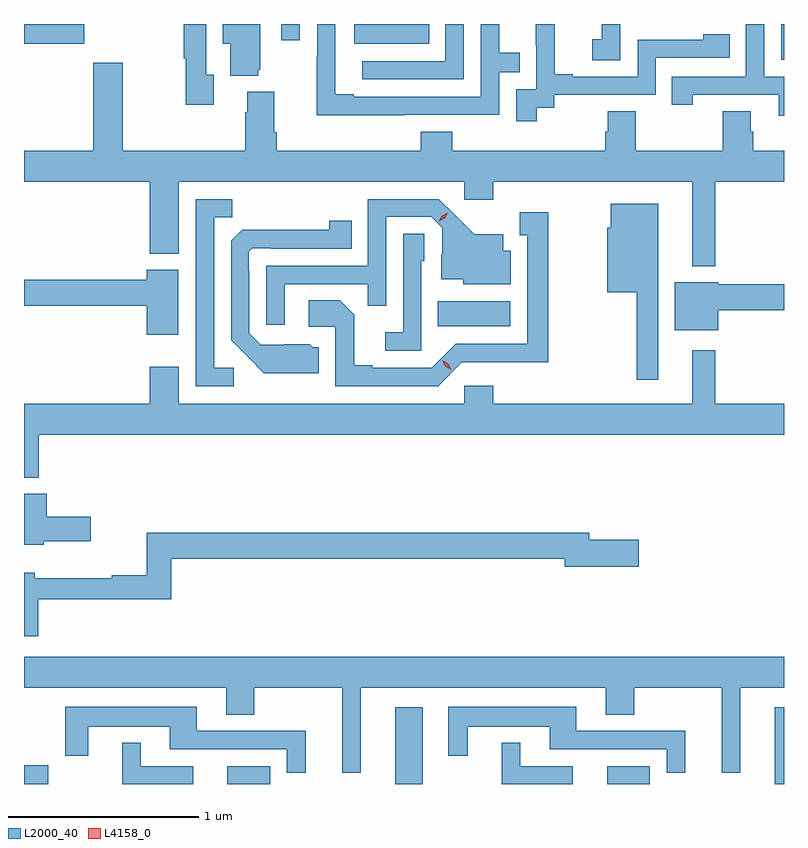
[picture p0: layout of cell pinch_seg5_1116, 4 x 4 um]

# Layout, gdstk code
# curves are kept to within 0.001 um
import gdstk
lib = gdstk.Library(unit=1e-6, precision=1e-09)
def R(c, l, rs):  # rectangles x0, y0, x1, y1
    for r in rs: c.add(gdstk.rectangle(r[:2], r[2:], *l))
def P(c, l, *ps):  # polygons
    for p in ps: c.add(gdstk.Polygon(p, *l))
L2000_40 = (2000, 40)
L4158_0 = (4158, 0)

pinch_seg5_1116 = lib.new_cell('pinch_seg5_1116')
R(pinch_seg5_1116, L2000_40, [(772.109,844.266,772.236,844.366), (773.18,844.266,773.404,844.36), (774.062,844.266,774.208,844.669), (775.178,844.266,775.402,844.36), (776.06,844.266,776.109,844.669), (774.286,846.674,774.667,846.808), (776.094,848.079,776.109,848.266), (772.109,848.162,772.426,848.266), (773.846,848.162,774.242,848.266), (773.463,848.181,773.559,848.266)])
P(pinch_seg5_1116, L2000_40, [(773.342,848.025),(773.353,848.025),(773.353,848.266),(773.156,848.266),(773.156,848.162),(773.195,848.162),(773.195,847.994),(773.342,847.994)],
  [(776.109,847.989),(776.004,847.989),(776.004,848.266),(775.908,848.266),(775.908,847.989),(775.519,847.989),(775.519,847.842),(775.63,847.842),(775.63,847.893),(776.081,847.893),(776.081,847.782),(776.109,847.782)],
  [(775.248,848.266),(775.15,848.266),(775.15,848.185),(775.101,848.185),(775.101,848.076),(775.248,848.076)],
  [(774.808,847.825),(774.9,847.825),(774.9,847.893),(775.434,847.893),(775.434,848.088),(775.823,848.088),(775.823,848.211),(775.683,848.211),(775.683,848.184),(775.338,848.184),(775.338,847.989),(774.997,847.989),(774.997,848.002),(774.902,848.002),(774.902,848.266),(774.803,848.266),(774.803,848.153),(774.804,848.153),(774.804,847.923),(774.699,847.923),(774.699,847.755),(774.808,847.755)],
  [(774.113,847.788),(774.609,847.788),(774.609,848.013),(774.719,848.013),(774.719,848.114),(774.609,848.114),(774.609,848.266),(774.513,848.266),(774.513,847.884),(773.845,847.884),(773.845,847.897),(773.748,847.897),(773.748,848.266),(773.652,848.266),(773.652,848.093),(773.65,848.093),(773.65,847.787),(774.113,847.787)],
  [(773.107,847.998),(773.067,847.998),(773.067,848.266),(772.951,848.266),(772.951,848.086),(772.959,848.086),(772.959,847.842),(773.107,847.842)],
  [(774.423,848.266),(774.327,848.266),(774.327,848.07),(773.889,848.07),(773.889,847.974),(774.423,847.974)],
  [(775.747,847.436),(776.109,847.436),(776.109,847.6),(775.946,847.6),(775.946,847.698),(775.933,847.698),(775.933,847.808),(775.786,847.808),(775.786,847.6),(775.329,847.6),(775.329,847.808),(775.181,847.808),(775.181,847.698),(775.169,847.698),(775.169,847.6),(774.362,847.6),(774.362,847.699),(774.197,847.699),(774.197,847.6),(773.438,847.6),(773.438,847.696),(773.425,847.696),(773.425,847.909),(773.285,847.909),(773.285,847.802),(773.273,847.802),(773.273,847.6),(772.629,847.6),(772.629,848.062),(772.474,848.062),(772.474,847.6),(772.109,847.6),(772.109,847.436),(772.772,847.436),(772.772,847.058),(772.924,847.058),(772.924,847.436),(774.426,847.436),(774.426,847.341),(774.578,847.341),(774.578,847.436),(775.625,847.436),(775.625,846.992),(775.747,846.992)],
  [(773.212,846.456),(773.109,846.456),(773.109,847.249),(773.205,847.249),(773.205,847.344),(773.013,847.344),(773.013,846.36),(773.212,846.36)],
  [(773.481,846.897),(773.917,846.897),(773.917,846.784),(774.015,846.784),(774.015,847.251),(774.252,847.251),(774.309,847.194),(774.309,847.052),(774.305,847.052),(774.305,846.923),(774.42,846.923),(774.42,846.896),(774.67,846.896),(774.67,847.072),(774.631,847.072),(774.631,847.159),(774.479,847.159),(774.292,847.344),(773.919,847.344),(773.919,846.993),(773.385,846.993),(773.385,846.684),(773.481,846.684)],
  [(775.447,847.321),(775.196,847.321),(775.196,847.194),(775.178,847.194),(775.178,846.854),(775.333,846.854),(775.333,846.393),(775.447,846.393)],
  [(774.414,846.486),(774.869,846.485),(774.869,847.276),(774.719,847.276),(774.719,847.155),(774.758,847.155),(774.758,846.582),(774.381,846.582),(774.255,846.456),(773.941,846.456),(773.941,846.469),(773.847,846.469),(773.847,846.736),(773.771,846.812),(773.607,846.812),(773.607,846.672),(773.748,846.672),(773.748,846.36),(774.288,846.36)],
  [(773.659,846.564),(773.628,846.564),(773.612,846.58),(773.355,846.579),(773.295,846.639),(773.295,846.968),(773.292,846.968),(773.292,847.068),(773.31,847.086),(773.41,847.086),(773.41,847.083),(773.834,847.083),(773.834,847.231),(773.716,847.231),(773.716,847.184),(773.258,847.183),(773.199,847.124),(773.199,846.602),(773.371,846.428),(773.659,846.428)],
  [(774.201,847.02),(774.216,847.02),(774.216,847.163),(774.105,847.163),(774.105,846.643),(774.009,846.643),(774.009,846.546),(774.201,846.546)],
  [(772.921,846.973),(772.754,846.973),(772.754,846.92),(772.109,846.92),(772.109,846.784),(772.754,846.784),(772.754,846.63),(772.921,846.63)],
  [(775.762,846.76),(776.109,846.76),(776.109,846.896),(775.762,846.896),(775.762,846.907),(775.535,846.907),(775.535,846.653),(775.762,846.653)],
  [(776.109,846.268),(775.747,846.268),(775.747,846.55),(775.625,846.55),(775.625,846.268),(774.578,846.268),(774.578,846.361),(774.426,846.361),(774.426,846.268),(772.924,846.268),(772.924,846.463),(772.772,846.463),(772.772,846.268),(772.109,846.268),(772.109,845.879),(772.187,845.879),(772.187,846.104),(776.109,846.104)],
  [(772.212,845.543),(772.459,845.543),(772.459,845.673),(772.229,845.673),(772.229,845.794),(772.109,845.794),(772.109,845.525),(772.212,845.525)],
  [(772.184,845.238),(772.883,845.238),(772.883,845.452),(774.956,845.452),(774.956,845.41),(775.345,845.41),(775.345,845.552),(775.084,845.552),(775.084,845.588),(772.755,845.588),(772.755,845.366),(772.57,845.366),(772.57,845.348),(772.165,845.348),(772.165,845.377),(772.109,845.377),(772.109,845.043),(772.184,845.043)],
  [(773.882,844.772),(775.172,844.772),(775.172,844.63),(775.32,844.63),(775.32,844.772),(775.781,844.772),(775.781,844.326),(775.88,844.326),(775.88,844.772),(776.109,844.772),(776.109,844.936),(772.109,844.936),(772.109,844.772),(773.174,844.772),(773.174,844.63),(773.322,844.63),(773.322,844.772),(773.783,844.772),(773.783,844.326),(773.882,844.326)],
  [(775.589,844.545),(775.015,844.545),(775.015,844.672),(774.341,844.672),(774.341,844.416),(774.445,844.416),(774.445,844.568),(774.875,844.568),(774.875,844.449),(775.491,844.449),(775.491,844.326),(775.589,844.326)],
  [(773.591,844.545),(773.017,844.545),(773.017,844.672),(772.326,844.672),(772.326,844.416),(772.447,844.416),(772.447,844.568),(772.877,844.568),(772.877,844.449),(773.493,844.449),(773.493,844.326),(773.591,844.326)],
  [(773,844.359),(772.723,844.359),(772.723,844.483),(772.625,844.483),(772.625,844.266),(773,844.266)],
  [(774.998,844.359),(774.721,844.359),(774.721,844.483),(774.623,844.483),(774.623,844.266),(774.998,844.266)])
P(pinch_seg5_1116, L4158_0, [(774.358,846.445),(774.326,846.464),(774.309,846.496),(774.309,846.497),(774.309,846.497),(774.341,846.477),(774.358,846.445),(774.358,846.445)],
  [(774.292,847.228),(774.292,847.228),(774.309,847.258),(774.34,847.273),(774.34,847.273),(774.34,847.272),(774.323,847.243),(774.292,847.228)])

lib.write_gds('pinch_seg5_1116.gds')
